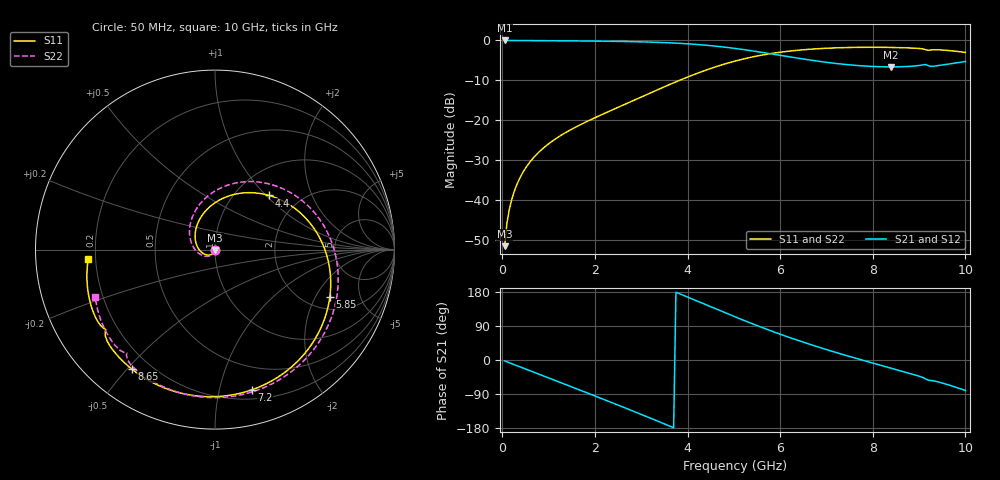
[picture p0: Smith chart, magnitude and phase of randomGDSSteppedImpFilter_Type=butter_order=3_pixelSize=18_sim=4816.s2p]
! freq	dB(S11)	phase(S11)	dB(S12)	phase(S12)
!  dB(S21)	phase(S21)	dB(S22)	phase(S22)
!S-par simulation data
#  GHz  S  DB  R 50
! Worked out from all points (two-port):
!   200 points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, 50 MHz to 10 GHz, reference 50 ohm
!   highest |S21| = 0.00 dB at 50 MHz (marker M1); lowest = -6.6 dB at 8.4 GHz (marker M2)
!   |S21| within 3 dB of the highest: start of sweep to 5.621 GHz
!   lowest |S11| = -51.4 dB at 50 MHz (marker M3), VSWR 1.01, Z = 50 - j0.268 ohm
!   |S11| at or under -10 dB: start of sweep to 3.821 GHz
!   |S22| runs from -51.4 to -1.7 dB; largest |S21 - S12| = 0
!   S11 on the Smith chart (normalised r, x): 50 MHz: 1.00, -0.01; 4.4 GHz: 1.41, +1.04; 5.85 GHz: 2.60, -2.65; 7.2 GHz: 0.28, -1.26; 8.65 GHz: 0.13, -0.51; 10 GHz: 0.17, -0.04
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0.05  -51.43 -89.1  -0.00 -2.4  -0.00 -2.4  -51.38 -88.2
0.1  -45.68 -91.9  -0.01 -4.8  -0.01 -4.8  -45.67 -90.8
0.2  -39.93 -98.7  -0.02 -9.5  -0.02 -9.5  -39.90 -96.7
0.5  -31.95 -116.7  -0.04 -23.6  -0.04 -23.6  -31.94 -111.6
1.15  -24.60 -151.5  -0.08 -54.3  -0.08 -54.3  -24.61 -140.1
1.75  -20.70 177.0  -0.13 -82.8  -0.13 -82.8  -20.74 -166.4
2.1  -18.80 159.0  -0.17 -99.6  -0.17 -99.6  -18.85 177.9
2.5  -16.71 138.7  -0.23 -119.0  -0.23 -119.0  -16.78 159.5
3  -14.13 113.7  -0.35 -143.5  -0.35 -143.5  -14.20 135.4
3.4  -12.08 94.0  -0.49 -163.5  -0.49 -163.5  -12.14 115.3
3.9  -9.62 69.5  -0.77 171.2  -0.77 171.2  -9.67 89.5
4.4  -7.41 45.1  -1.19 145.6  -1.19 145.6  -7.45 63.3
5.05  -5.08 13.8  -2.03 112.7  -2.03 112.7  -5.10 29.7
5.85  -3.19 -22.5  -3.43 74.8  -3.43 74.8  -3.20 -8.8
6.7  -2.15 -57.0  -4.99 39.0  -4.99 39.0  -2.15 -44.8
7.2  -1.85 -75.3  -5.75 20.1  -5.75 20.1  -1.84 -63.6
7.75  -1.71 -94.4  -6.34 0.5  -6.34 0.5  -1.69 -82.9
8.35  -1.74 -114.7  -6.61 -19.9  -6.61 -19.9  -1.71 -102.9
8.4  -1.75 -116.4  -6.61 -21.6  -6.61 -21.6  -1.71 -104.5
8.65  -1.82 -124.9  -6.56 -30.1  -6.56 -30.1  -1.78 -112.7
9.5  -2.39 -154.6  -6.13 -60.7  -6.13 -60.7  -2.32 -140.1
10  -3.00 -175.8  -5.25 -80.2  -5.25 -80.2  -2.89 -158.6
